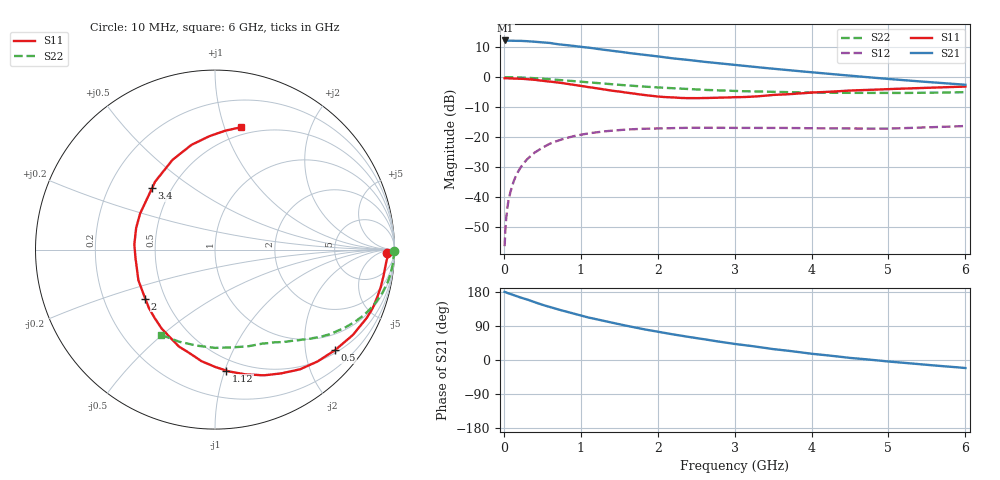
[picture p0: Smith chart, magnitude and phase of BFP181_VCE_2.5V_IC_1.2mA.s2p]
! Infineon Technologies  Discrete & RF Semiconductors
! BFP181
! VCE = 2.5 V,  IC =  1.2 mA
! Common Emitter S-Parameters:  Jan 2016
# GHz  S  MA  R  50
!  f  S11  S21  S12  S22
! GHz  MAG  ANG  MAG  ANG  MAG  ANG  MAG  ANG
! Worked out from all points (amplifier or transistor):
!   210 points, 10 MHz to 6 GHz, reference 50 ohm
!   highest |S21| = 12.3 dB at 20 MHz (marker M1)
!   |S21| within 3 dB of that: start of sweep to 1.268 GHz
!   unconditionally stable (mu >= 1): 2.877 GHz to end of sweep
!   at 185 MHz: K = 0.07, MSG = 21.9 dB, |S12| = -31.6 dB
!   at 1.52 GHz: K = 0.57, MSG = 13.1 dB, |S12| = -17.7 dB
!   at 6 GHz: K = 1.25, MAG = 3.9 dB, |S12| = -16.3 dB
!   S11 on the Smith chart (normalised r, x): 10 MHz: 40, -16; 500 MHz: 0.56, -2.64; 1.12 GHz: 0.41, -1.01; 2 GHz: 0.39, -0.27; 3.4 GHz: 0.39, +0.35; 6 GHz: 0.43, +1.14
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0.01  0.9574 -1.0  4.1 179.6  0.0015 78.5  0.9985 -0.3
0.02  0.965 -1.7  4.107 179.2  0.0028 91.8  0.9975 -0.7
0.035  0.9609 -2.8  4.093 177.9  0.005 89.6  0.997 -1.3
0.06  0.9556 -4.7  4.076 175.9  0.0086 86.8  0.9965 -2.3
0.15  0.9477 -12.3  4.038 169.7  0.0215 82.3  0.9917 -5.5
0.3  0.927 -24.3  3.994 159.9  0.0421 74.2  0.9776 -11.1
0.5  0.8723 -40.0  3.82 145.7  0.0659 64.6  0.9449 -17.9
0.6  0.8455 -47.5  3.729 139.7  0.0775 60.0  0.9253 -21.1
0.8  0.7824 -61.8  3.462 128.1  0.0952 51.7  0.8823 -26.7
1.02  0.7083 -77.7  3.194 116.4  0.1102 43.4  0.8348 -32.0
1.12  0.677 -84.6  3.094 111.3  0.116 40.1  0.8136 -34.2
1.5  0.5761 -110.5  2.676 94.1  0.1303 29.7  0.743 -41.3
1.8  0.5079 -131.6  2.393 81.9  0.1371 23.9  0.6993 -45.8
2  0.4752 -144.9  2.227 74.6  0.1396 20.4  0.6737 -48.7
2.02  0.4726 -146.2  2.209 73.9  0.1398 20.1  0.6716 -49.0
2.42  0.4458 -172.8  1.927 60.4  0.1425 14.0  0.6313 -54.8
2.8  0.4556 164.7  1.705 48.3  0.1424 10.1  0.6015 -60.0
3.1  0.465 149.5  1.557 40.0  0.1421 7.6  0.5831 -64.5
3.4  0.4903 135.6  1.424 31.8  0.1423 5.8  0.5727 -69.1
4.1  0.5601 112.6  1.177 14.5  0.1397 3.1  0.5509 -81.9
5.1  0.6384 91.2  0.912 -5.6  0.1394 2.9  0.5442 -102.8
6  0.6966 78.0  0.747 -21.2  0.1527 4.0  0.5622 -122.4
